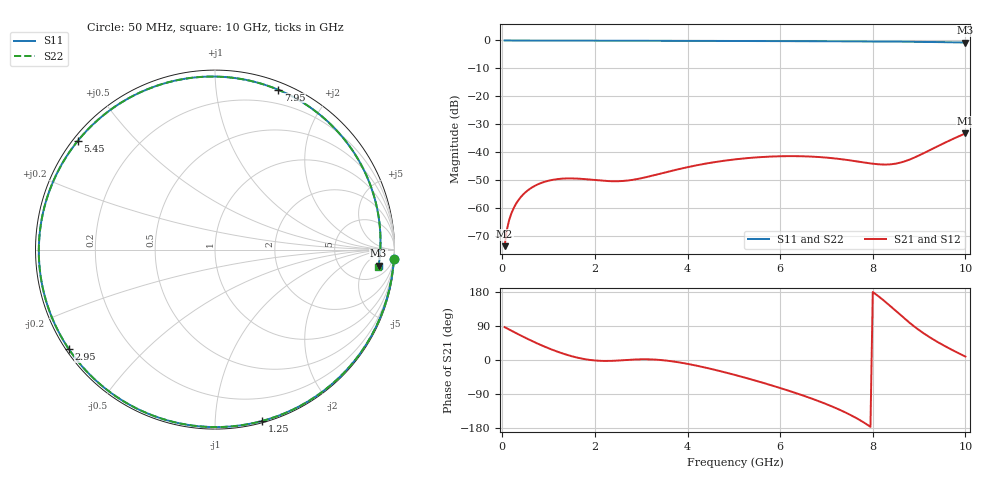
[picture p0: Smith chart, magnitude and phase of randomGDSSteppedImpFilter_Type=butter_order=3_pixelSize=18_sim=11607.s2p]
! freq	dB(S11)	phase(S11)	dB(S12)	phase(S12)
!  dB(S21)	phase(S21)	dB(S22)	phase(S22)
!S-par simulation data
#  GHz  S  DB  R 50
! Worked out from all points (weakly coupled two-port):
!   200 points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, 50 MHz to 10 GHz, reference 50 ohm
!   highest |S21| = -33.36 dB at 10 GHz (marker M1); lowest = -73.8 dB at 50 MHz (marker M2)
!   lowest |S11| = -0.8 dB at 10 GHz (marker M3), VSWR 22.79, Z = 504 - j565 ohm
!   |S11| at or under -10 dB: nowhere
!   |S22| runs from -0.8 to 0.0 dB; largest |S21 - S12| = 0
!   S11 on the Smith chart (normalised r, x): 50 MHz: 1, -37; 1.25 GHz: 0.01, -1.31; 2.95 GHz: 0.01, -0.31; 5.45 GHz: 0.01, +0.35; 7.95 GHz: 0.07, +1.47; 10 GHz: 10, -11
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0.05  -0.01 -3.1  -73.81 86.8  -73.81 86.8  -0.01 -3.1
0.1  -0.02 -6.3  -67.81 83.5  -67.81 83.5  -0.02 -6.3
0.15  -0.03 -9.5  -64.33 80.3  -64.33 80.3  -0.03 -9.5
0.25  -0.04 -16.0  -60.01 73.9  -60.01 73.9  -0.04 -16.0
0.4  -0.04 -25.5  -56.19 64.6  -56.19 64.6  -0.04 -25.5
0.75  -0.06 -46.8  -51.77 44.0  -51.77 44.0  -0.06 -46.8
1.25  -0.08 -74.7  -49.65 19.4  -49.65 19.4  -0.08 -74.7
1.75  -0.10 -99.1  -49.71 2.9  -49.71 2.9  -0.10 -99.1
2.35  -0.12 -124.2  -50.50 -2.3  -50.50 -2.3  -0.12 -124.2
2.95  -0.13 -145.8  -49.62 1.7  -49.62 1.7  -0.13 -145.8
3.4  -0.14 -160.3  -47.86 0.2  -47.86 0.2  -0.14 -160.4
4.2  -0.16 176.0  -44.79 -15.1  -44.79 -15.1  -0.17 176.0
5.05  -0.20 152.5  -42.63 -40.3  -42.63 -40.3  -0.20 152.4
5.45  -0.22 141.6  -42.01 -53.8  -42.01 -53.8  -0.22 141.5
6.1  -0.25 123.7  -41.52 -77.7  -41.52 -77.7  -0.25 123.6
6.7  -0.28 106.7  -41.70 -102.6  -41.70 -102.6  -0.28 106.5
7.35  -0.32 87.4  -42.67 -135.0  -42.67 -135.0  -0.33 87.1
7.95  -0.37 68.5  -44.12 -176.3  -44.12 -176.3  -0.38 68.2
8.35  -0.42 55.2  -44.49 145.4  -44.49 145.4  -0.42 54.9
8.75  -0.47 41.4  -43.03 102.8  -43.03 102.8  -0.47 41.1
9.25  -0.56 23.3  -39.22 58.4  -39.22 58.4  -0.56 22.9
10  -0.76 -5.7  -33.36 9.0  -33.36 9.0  -0.77 -6.1
